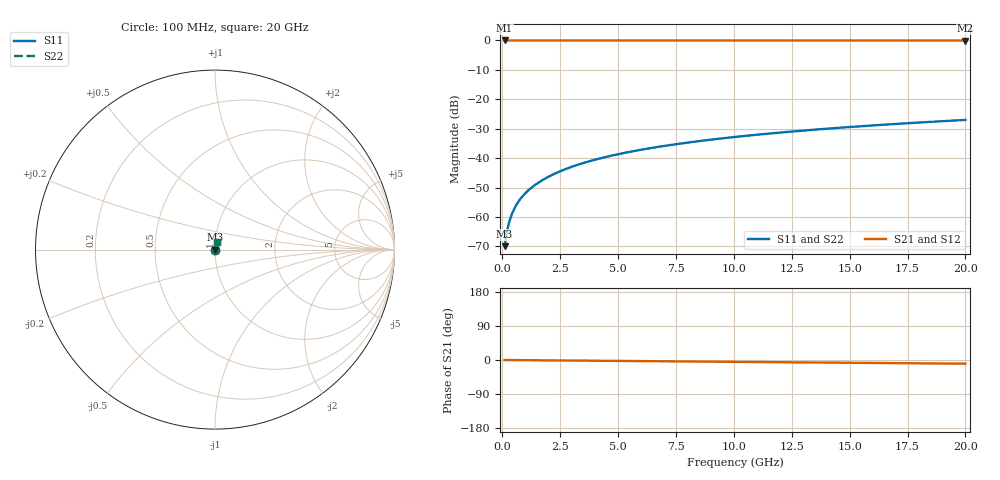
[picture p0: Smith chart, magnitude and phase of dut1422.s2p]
! Touchstone file exported from HFSS 2026.1.0
!  File:  C:/ffzhzh/LocalFiles/Ansys_Project_Files/temp_train_TSV_1422_1783197298_43440.aedt
!  Generated:  04:36:41 AM Jul  5, 2026
!  Design:  TSV
!  Project:  temp_train_TSV_1422_1783197298_43440
! Variables:
!  h_bsmrdl = 2um
!  h_ox = 20um
!  h_rdl = 5um
!  h_sub = 92.93um
!  h_tmrdl = 5um
!  h_tsv = 92.93um
!  h_via = 3um
!  l_bsmrdl = 300um
!  l_sub = 417.78um
!  l_tmrdl = 200um
!  m_sub = 200um
!  pitch = 50.59um
!  r_tsv = 8.89um
!  s_tmrdl = 10um
!  w_bsmrdl = 18um
!  w_sub = 500um
!  w_tmrdl = 12um
!  x_tsv_center1 = 206um
!  x_tsv_center2 = 524um
!  x_tsv_center3 = 736um
!  x_tsv_center4 = 1054um
!  x_tsv_center5 = 1266um
!  x_tsv_center6 = 1584um
# GHz S MA R 50.000000
! Terminal data exported
! Port[1] = TSV1_1_T1
! Port[2] = TSV1_1_T2
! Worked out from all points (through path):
!   200 points, 100 MHz to 20 GHz, reference 50 ohm
!   highest |S21| = 0.00 dB at 100 MHz (marker M1); lowest = 0.0 dB at 20 GHz (marker M2)
!   group delay of S21, straight-line fit = 1.35 ps
!   lowest |S11| = -69.9 dB at 100 MHz (marker M3), VSWR 1.00, Z = 50 + j0.0271 ohm
!   |S11| at or under -10 dB: start of sweep to end of sweep
!   |S22| runs from -69.9 to -27.0 dB; largest |S21 - S12| = 2.3e-15
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0.1  0.0003196 58.0  0.9998 -0.1  0.9998 -0.1  0.0003196 58.0
! Gamma 0 0 0 0
! Port Impedance 50 0 50 0
0.2  0.0005695 71.4  0.9998 -0.1  0.9998 -0.1  0.0005695 71.4
0.3  0.0008289 76.0  0.9998 -0.2  0.9998 -0.2  0.0008289 76.0
0.4  0.001087 78.1  0.9998 -0.2  0.9998 -0.2  0.001087 78.1
0.5  0.001341 79.3  0.9998 -0.3  0.9998 -0.3  0.001341 79.3
0.6  0.00159 80.0  0.9997 -0.3  0.9997 -0.3  0.00159 80.0
0.7  0.001834 80.4  0.9997 -0.4  0.9997 -0.4  0.001834 80.4
0.8  0.002075 80.8  0.9997 -0.4  0.9997 -0.4  0.002075 80.8
1  0.002548 81.4  0.9996 -0.5  0.9996 -0.5  0.002548 81.4
1.4  0.003475 82.2  0.9996 -0.7  0.9996 -0.7  0.003475 82.2
1.7  0.004164 82.7  0.9995 -0.8  0.9995 -0.8  0.004164 82.7
2  0.004851 83.1  0.9995 -1.0  0.9995 -1.0  0.004851 83.1
2.7  0.006451 83.6  0.9994 -1.3  0.9994 -1.3  0.006451 83.6
3.5  0.008274 83.8  0.9993 -1.7  0.9993 -1.7  0.008274 83.8
4.2  0.009862 83.8  0.9992 -2.1  0.9992 -2.1  0.009862 83.8
5  0.01167 83.8  0.9992 -2.5  0.9992 -2.5  0.01167 83.8
6.8  0.0157 83.4  0.999 -3.3  0.999 -3.3  0.0157 83.4
8.3  0.01905 82.9  0.9988 -4.1  0.9988 -4.1  0.01905 82.9
10.1  0.02303 82.3  0.9986 -4.9  0.9986 -4.9  0.02303 82.3
13.4  0.0303 81.1  0.9983 -6.5  0.9983 -6.5  0.0303 81.1
16.7  0.03752 79.7  0.9979 -8.1  0.9979 -8.1  0.03752 79.7
20  0.04465 78.3  0.9975 -9.7  0.9975 -9.7  0.04465 78.3
